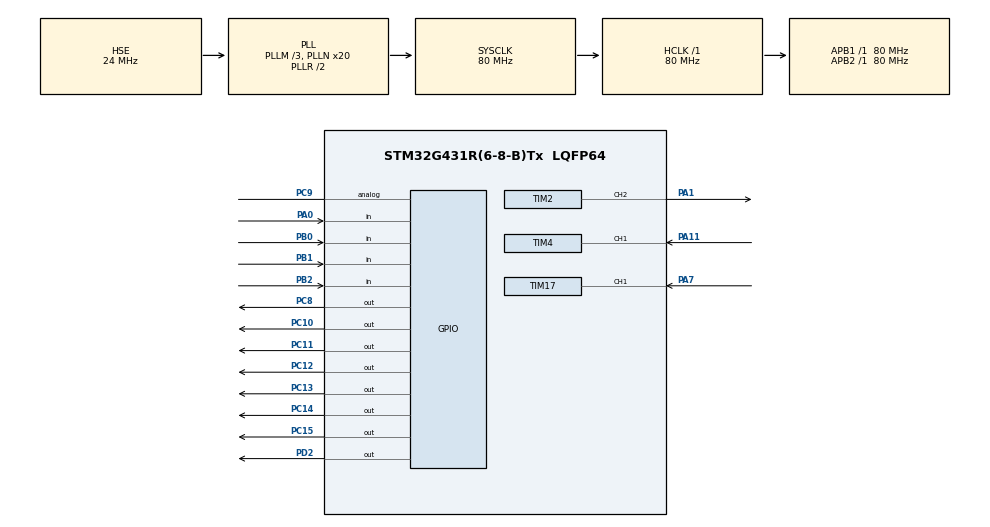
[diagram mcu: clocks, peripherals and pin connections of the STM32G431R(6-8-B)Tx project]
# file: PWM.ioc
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Mcu.Family=STM32G4
Mcu.Name=STM32G431R(6-8-B)Tx
Mcu.Package=LQFP64
NVIC.PriorityGroup=NVIC_PRIORITYGROUP_4
NVIC.TIM1_TRG_COM_TIM17_IRQn=true\:0\:0\:false\:false\:true\:true\:true\:true
NVIC.TIM4_IRQn=true\:0\:0\:false\:false\:true\:true\:true\:true
PA0.Signal=GPIO_Input
PA1.Signal=S_TIM2_CH2
PA11.Signal=S_TIM4_CH1
PA13.Mode=Serial_Wire
PA13.Signal=SYS_JTMS-SWDIO
PA14.Mode=Serial_Wire
PA14.Signal=SYS_JTCK-SWCLK
PA7.Signal=S_TIM17_CH1
PB0.Signal=GPIO_Input
PB1.Signal=GPIO_Input
PB2.Signal=GPIO_Input
PC10.Signal=GPIO_Output
PC11.Signal=GPIO_Output
PC12.Signal=GPIO_Output
PC13.Signal=GPIO_Output
PC14-OSC32_IN.Signal=GPIO_Output
PC15-OSC32_OUT.Signal=GPIO_Output
PC8.Signal=GPIO_Output
PC9.Signal=GPIO_Analog
PD2.Signal=GPIO_Output
PF0-OSC_IN.Mode=HSE-External-Oscillator
PF0-OSC_IN.Signal=RCC_OSC_IN
PF1-OSC_OUT.Mode=HSE-External-Oscillator
PF1-OSC_OUT.Signal=RCC_OSC_OUT
ProjectManager.HeapSize=0x200
ProjectManager.StackSize=0x400
ProjectManager.TargetToolchain=MDK-ARM V5
RCC.ADC12Freq_Value=80000000
RCC.AHBFreq_Value=80000000
RCC.APB1Freq_Value=80000000
RCC.APB1TimFreq_Value=80000000
RCC.APB2Freq_Value=80000000
RCC.APB2TimFreq_Value=80000000
RCC.CortexFreq_Value=80000000
RCC.EXTERNAL_CLOCK_VALUE=12288000
RCC.HCLKFreq_Value=80000000
RCC.HSE_VALUE=24000000
RCC.HSI48_VALUE=48000000
RCC.HSI_VALUE=16000000
RCC.LSE_VALUE=32768
RCC.PLLM=RCC_PLLM_DIV3
RCC.PLLN=20
RCC.PLLSourceVirtual=RCC_PLLSOURCE_HSE
RCC.SYSCLKFreq_VALUE=80000000
RCC.SYSCLKSource=RCC_SYSCLKSOURCE_PLLCLK
RCC.USBFreq_Value=80000000
RCC.VCOOutputFreq_Value=160000000
SH.S_TIM17_CH1.0=TIM17_CH1,Input_Capture1_from_TI1
SH.S_TIM2_CH2.0=TIM2_CH2,PWM Generation2 CH2
SH.S_TIM4_CH1.0=TIM4_CH1,TriggerSource_TI1FP1
SH.S_TIM4_CH1.1=TIM4_CH1,Input_Capture1_from_TI1
TIM17.Channel=TIM_CHANNEL_1
TIM17.Prescaler=80-1
TIM2.AutoReloadPreload=TIM_AUTORELOAD_PRELOAD_ENABLE
TIM2.Channel-PWM\ Generation2\ CH2=TIM_CHANNEL_2
TIM2.PeriodNoDither=100-1
TIM2.Prescaler=800-1
TIM2.PulseNoDither_2=500
TIM4.Channel-Input_Capture1_from_TI1=TIM_CHANNEL_1
TIM4.Channel-Input_Capture2_from_TI1_63=TIM_CHANNEL_2
TIM4.ICPolarity_CH2=TIM_INPUTCHANNELPOLARITY_FALLING
TIM4.Prescaler=80-1
VP_SYS_VS_DBSignals.Mode=DisableDeadBatterySignals
VP_TIM17_VS_ClockSourceINT.Mode=Enable_Timer
VP_TIM2_VS_ClockSourceINT.Mode=Internal
VP_TIM4_VS_ControllerModeReset.Mode=Reset Mode
VP_TIM4_VS_indirect_ch1.Mode=Input_Capture2_from_TI1_63
board=custom

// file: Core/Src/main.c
/* USER CODE BEGIN Header */
/**
  ******************************************************************************
  * @file           : main.c
  * @brief          : Main program body
  ******************************************************************************
  * @attention
  *
  * Copyright (c) 2025 STMicroelectronics.
  * All rights reserved.
  *
  * This software is licensed under terms that can be found in the LICENSE file
  * in the root directory of this software component.
  * If no LICENSE file comes with this software, it is provided AS-IS.
  *
  ******************************************************************************
  */
/* USER CODE END Header */
#include "main.h"
#include "tim.h"
#include "gpio.h"

/* USER CODE BEGIN Includes */
#include "lcd.h"
#include "string.h"
#include "stdio.h"
#include  <stdint.h>
/* USER CODE END Includes */

/* USER CODE BEGIN PD */
#define UNLOCKLED       HAL_GPIO_WritePin(GPIOD,GPIO_PIN_2,GPIO_PIN_SET)
#define LOCKLED         HAL_GPIO_WritePin(GPIOD,GPIO_PIN_2,GPIO_PIN_RESET)
#define LEDFLOWLB 0X01
#define LEDFLOWLE 0X80
#define LEDFLOWRB 0x08
#define LEDFLOWRE 0X01
/* 修改 main.c 顶部的宏定义 */
#define GRAPH_HIGH_Y  160   // 高电平显示的行位置 (Xpos)
#define GRAPH_LOW_Y   210   // 低电平显示的行位置 (Xpos)
#define CYCLE_WIDTH   80    // 一个周期在屏幕上占的宽度 (像素)  // ★ 关键修改：周期改小一点，让屏幕能多显示几个波

// 保存上一次的占空比，用于防闪烁判断

/* USER CODE END PD */

/* USER CODE BEGIN PV */
u32 uwTick_Key=0;
u8 KeyValue;
u8 KeyState;
u8 ucLed=0x01;
u32 uwTick_Lcd=0;
char LineString[1000];
char buffer[20];
uint8_t blink_state = 0;
volatile uint8_t blink_mask = 0x01;
u16  PWMValue;
int count=0;
u32 fre,capture_value;
u32 ic_period=0;
u32 ic_pulse=0;
float duty_cycle=0.0;
float frequency=0.0;
u32 uwTick_ic=0;
u32 pwm_freq=1000;
float last_drawn_duty = -1.0;
/* USER CODE END PV */

void SystemClock_Config(void);
/* USER CODE BEGIN PFP */
void Key_Pro(void){
		if((uwTick-uwTick_Key)<10)return;
		uwTick_Key=uwTick;
		KeyValue=key_scanf();
		if(KeyValue==1){
			KeyState=1;
		}else if(KeyValue==2){
			KeyState=2;
		}else if(KeyValue==3){
			KeyState=3;
		}else if(KeyValue==4){
			KeyState=4;
		}
		if(KeyState==1){
		PWMValue +=5;
		if(PWMValue >= 100)PWMValue =100;
		__HAL_TIM_SET_COMPARE(&htim2, TIM_CHANNEL_2, PWMValue);
		KeyState=0;
		}
		else if(KeyState==2){
			if(PWMValue<=0)PWMValue+=5;
			PWMValue-=5;
			__HAL_TIM_SET_COMPARE(&htim2,TIM_CHANNEL_2,PWMValue);
			KeyState=0;
		}else if(KeyState==3){
      pwm_freq+=100;
      if(pwm_freq>=20000)pwm_freq=20000;
      u32 new_psc=(80000000/(pwm_freq*100))-1;
      __HAL_TIM_SET_PRESCALER(&htim2,new_psc);
      KeyState=0;
    }else if(KeyState==4){
      pwm_freq-=100;
      if(pwm_freq<=100)pwm_freq=100;
      u32 new_psc=(80000000/(pwm_freq*100))-1;
      __HAL_TIM_SET_PRESCALER(&htim2,new_psc);
      KeyState=0;
    }

    else{
			KeyState=0;
		}
	}
void LED_Disp(volatile uint8_t Led_num)
{

    HAL_GPIO_WritePin(GPIOC,GPIO_PIN_13|GPIO_PIN_14|GPIO_PIN_15|GPIO_PIN_8|GPIO_PIN_9|GPIO_PIN_10|GPIO_PIN_11|GPIO_PIN_12,GPIO_PIN_SET);
    UNLOCKLED;
    LOCKLED;

    HAL_GPIO_WritePin(GPIOC,Led_num<<8,GPIO_PIN_RESET);
    UNLOCKLED;
    LOCKLED;
}

void App_Low4Blink()
{
    blink_state ^= 1;
}

/* 这里是配合上面参数的 Draw_Wave 实现 */
void Draw_Wave(void)
{
    // 1. 先清除绘图区域
    LCD_SetBackColor(White);
    LCD_ClearLine(Line6);
    LCD_ClearLine(Line7);
    LCD_ClearLine(Line8);
    LCD_ClearLine(Line9);

    // 2. 设置波形颜色
    LCD_SetTextColor(Blue);

    // 3. 计算高低电平的像素宽度
    int high_width = (int)(CYCLE_WIDTH * duty_cycle / 100.0f);
    int low_width = CYCLE_WIDTH - high_width;
    int row_height = 8;  // 波形线条的高度（厚度）

    // 4. 循环绘制波形
    int cur_y = 20;

    while(cur_y < 300)
    {
        // --- 特殊情况：0% 或 100% 占空比 ---
        if(duty_cycle >= 99.9f) {
            // 全是高电平 - 填充矩形
            for(int x = GRAPH_HIGH_Y; x < GRAPH_HIGH_Y + row_height; x++) {
                LCD_SetCursor(x, cur_y);
                LCD_WriteRAM_Prepare();
                for(int y = 0; y < CYCLE_WIDTH; y++) {
                    LCD_WriteRAM(Blue);
                }
            }
            cur_y += CYCLE_WIDTH;
            continue;
        }
        if(duty_cycle <= 0.1f) {
            // 全是低电平 - 填充矩形
            for(int x = GRAPH_LOW_Y; x < GRAPH_LOW_Y + row_height; x++) {
                LCD_SetCursor(x, cur_y);
                LCD_WriteRAM_Prepare();
                for(int y = 0; y < CYCLE_WIDTH; y++) {
                    LCD_WriteRAM(Blue);
                }
            }
            cur_y += CYCLE_WIDTH;
            continue;
        }

        // --- 正常方波 ---

        // A. 画高电平矩形（填充）
        if(high_width > 0) {
            for(int x = GRAPH_HIGH_Y; x < GRAPH_HIGH_Y + row_height; x++) {
                LCD_SetCursor(x, cur_y);
                LCD_WriteRAM_Prepare();
                for(int y = 0; y < high_width; y++) {
                    LCD_WriteRAM(Blue);
                }
            }
        }

        // B. 画低电平矩形（填充）
        if(low_width > 0) {
            for(int x = GRAPH_LOW_Y; x < GRAPH_LOW_Y + row_height; x++) {
                LCD_SetCursor(x, cur_y + high_width);
                LCD_WriteRAM_Prepare();
                for(int y = 0; y < low_width; y++) {
                    LCD_WriteRAM(Blue);
                }
            }
        }

        cur_y += CYCLE_WIDTH;
    }

    // 恢复文字颜色
    LCD_SetTextColor(Black);
}

void lcd_middledisplay(u8 Line, char* sources)
{
    int paddling = (20 - strlen(sources)) / 2;
    snprintf(buffer, 20, "%*s%s%*s", paddling, "", sources,paddling, "");
    LCD_DisplayStringLine(Line, (u8*)buffer);
}
void Lcd_Pro(void){
		if((uwTick-uwTick_Lcd)<200)return;
		uwTick_Lcd=uwTick;
    if(uwTick-uwTick_ic>50){
      if(HAL_GPIO_ReadPin(GPIOA,GPIO_PIN_11)==GPIO_PIN_SET){
        duty_cycle=100.0f;
      }else{
        duty_cycle=0.0f;
      }
      frequency=0.0f;
    }
		sprintf((char *)LineString,"PWM_duty: %d",PWMValue);
		lcd_middledisplay(Line3, LineString);
    sprintf((char *)LineString,"count: %.2f",duty_cycle);
    lcd_middledisplay(Line4, LineString);
    sprintf((char *)LineString,"frequency: %.2f",frequency);
    lcd_middledisplay(Line5, LineString);
    Draw_Wave();

}
void HAL_TIM_IC_CaptureCallback(TIM_HandleTypeDef *htim){
		if(htim->Instance==TIM17){
				capture_value=HAL_TIM_ReadCapturedValue(htim,TIM_CHANNEL_1);
				TIM17->CNT = 0;
				if(capture_value > 0) {
            fre = 80000000 / (80 * capture_value);
        }
		}
    if(htim->Instance==TIM4&&htim->Channel==HAL_TIM_ACTIVE_CHANNEL_1){
      uwTick_ic=uwTick;
      ic_period=HAL_TIM_ReadCapturedValue(htim,TIM_CHANNEL_1);
      ic_pulse=HAL_TIM_ReadCapturedValue(htim,TIM_CHANNEL_2);
      if(ic_period>0){
        duty_cycle=((float)ic_pulse/ic_period)*100.0f;
        frequency=1000000.0f/ic_period;
      }
    }

}

/* USER CODE END PFP */

int main(void)
{

  /* USER CODE BEGIN 1 */
//Pulse ratio
  /* USER CODE END 1 */

  /* MCU Configuration--------------------------------------------------------*/

  /* Reset of all peripherals, Initializes the Flash interface and the Systick. */
  HAL_Init();

  /* USER CODE BEGIN Init */

	LCD_Init();
	LCD_Clear(White);
  /* USER CODE END Init */

  /* Configure the system clock */
  SystemClock_Config();

  /* Initialize all configured peripherals */
  MX_GPIO_Init();
  MX_TIM2_Init();
  MX_TIM17_Init();
  MX_TIM4_Init();
  /* USER CODE BEGIN 2 */
	LED_Disp(0);
  HAL_TIM_IC_Start_IT(&htim17,TIM_CHANNEL_1);
  HAL_TIM_IC_Start_IT(&htim4,TIM_CHANNEL_1);
  HAL_TIM_IC_Start(&htim4,TIM_CHANNEL_2);
	HAL_TIM_PWM_Start(&htim2,TIM_CHANNEL_2);
	__HAL_TIM_CLEAR_IT(&htim2,TIM_IT_UPDATE);
	HAL_TIM_IC_Start_IT(&htim17,TIM_CHANNEL_1);
  /* USER CODE END 2 */

  /* Infinite loop */
  /* USER CODE BEGIN WHILE */
  while (1)
  {

    Lcd_Pro();
		Key_Pro();

    /* USER CODE END WHILE */

  }
}

void SystemClock_Config(void)
{
  RCC_OscInitTypeDef RCC_OscInitStruct = {0};
  RCC_ClkInitTypeDef RCC_ClkInitStruct = {0};

  /** Configure the main internal regulator output voltage
  */
  HAL_PWREx_ControlVoltageScaling(PWR_REGULATOR_VOLTAGE_SCALE1);

  /** Initializes the RCC Oscillators according to the specified parameters
  * in the RCC_OscInitTypeDef structure.
  */
  RCC_OscInitStruct.OscillatorType = RCC_OSCILLATORTYPE_HSE;
  RCC_OscInitStruct.HSEState = RCC_HSE_ON;
  RCC_OscInitStruct.PLL.PLLState = RCC_PLL_ON;
  RCC_OscInitStruct.PLL.PLLSource = RCC_PLLSOURCE_HSE;
  RCC_OscInitStruct.PLL.PLLM = RCC_PLLM_DIV3;
  RCC_OscInitStruct.PLL.PLLN = 20;
  RCC_OscInitStruct.PLL.PLLP = RCC_PLLP_DIV2;
  RCC_OscInitStruct.PLL.PLLQ = RCC_PLLQ_DIV2;
  RCC_OscInitStruct.PLL.PLLR = RCC_PLLR_DIV2;
  if (HAL_RCC_OscConfig(&RCC_OscInitStruct) != HAL_OK)
  {
    Error_Handler();
  }

  /** Initializes the CPU, AHB and APB buses clocks
  */
  RCC_ClkInitStruct.ClockType = RCC_CLOCKTYPE_HCLK|RCC_CLOCKTYPE_SYSCLK
                              |RCC_CLOCKTYPE_PCLK1|RCC_CLOCKTYPE_PCLK2;
  RCC_ClkInitStruct.SYSCLKSource = RCC_SYSCLKSOURCE_PLLCLK;
  RCC_ClkInitStruct.AHBCLKDivider = RCC_SYSCLK_DIV1;
  RCC_ClkInitStruct.APB1CLKDivider = RCC_HCLK_DIV1;
  RCC_ClkInitStruct.APB2CLKDivider = RCC_HCLK_DIV1;

  if (HAL_RCC_ClockConfig(&RCC_ClkInitStruct, FLASH_LATENCY_2) != HAL_OK)
  {
    Error_Handler();
  }
}

void Error_Handler(void)
{
  __disable_irq();
  while (1)
  {
  }
}
